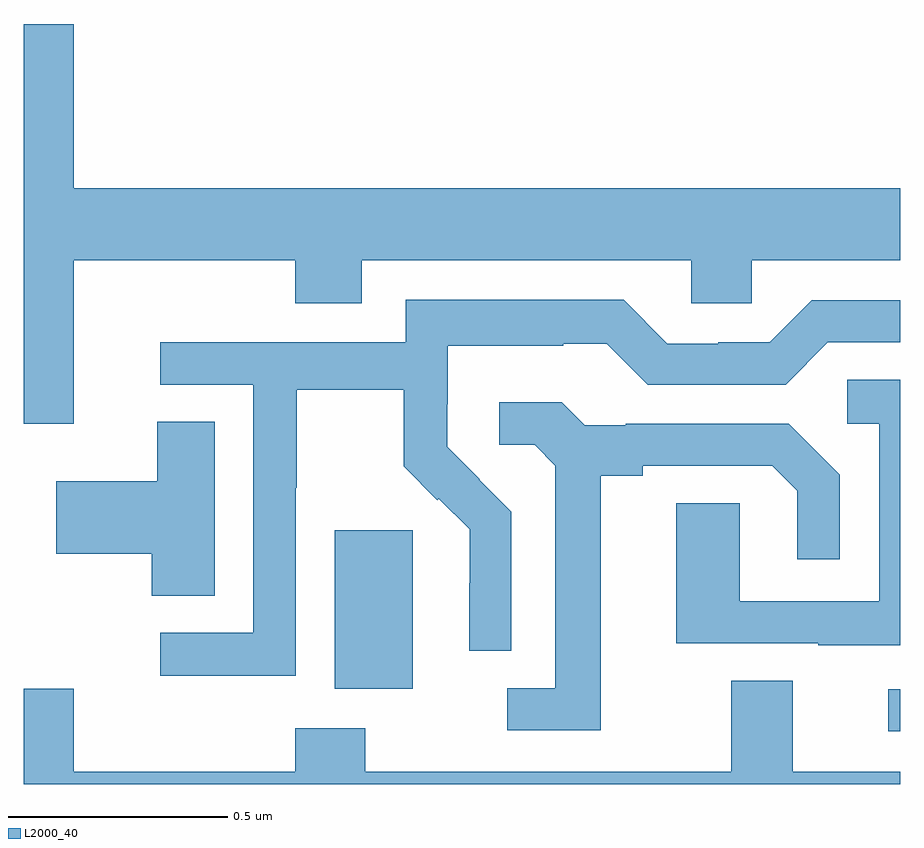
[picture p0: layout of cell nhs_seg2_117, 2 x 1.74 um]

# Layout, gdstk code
import gdstk
lib = gdstk.Library(unit=1e-6, precision=1e-09)
def R(c, l, rs):  # rectangles x0, y0, x1, y1
    for r in rs: c.add(gdstk.rectangle(r[:2], r[2:], *l))
def P(c, l, *ps):  # polygons
    for p in ps: c.add(gdstk.Polygon(p, *l))
L2000_40 = (2000, 40)

nhs_seg2_117 = lib.new_cell('nhs_seg2_117')
R(nhs_seg2_117, L2000_40, [(113.973,619.92,114,620.016), (112.709,620.018,112.888,620.379)])
P(nhs_seg2_117, L2000_40, [(112.114,620.996),(112.619,620.996),(112.619,620.897),(112.771,620.897),(112.771,620.996),(113.523,620.996),(113.523,620.898),(113.661,620.898),(113.661,620.996),(114,620.996),(114,621.16),(112.114,621.16),(112.114,621.535),(112,621.535),(112,620.622),(112.114,620.622)],
  [(112.62,620.476),(112.623,620.476),(112.623,620.7),(112.867,620.7),(112.867,620.525),(112.944,620.448),(112.947,620.451),(113.018,620.381),(113.018,620.258),(113.016,620.258),(113.016,620.104),(113.112,620.104),(113.112,620.422),(113.039,620.495),(113.04,620.496),(112.966,620.57),(112.966,620.667),(112.968,620.667),(112.968,620.801),(113.231,620.801),(113.231,620.805),(113.331,620.805),(113.424,620.712),(113.739,620.712),(113.835,620.808),(114,620.808),(114,620.904),(113.799,620.904),(113.703,620.808),(113.585,620.808),(113.585,620.805),(113.469,620.805),(113.369,620.905),(112.872,620.905),(112.872,620.808),(112.311,620.808),(112.311,620.712),(112.524,620.712),(112.524,620.145),(112.311,620.145),(112.311,620.047),(112.62,620.047)],
  [(114,620.723),(113.88,620.723),(113.88,620.622),(113.952,620.622),(113.952,620.217),(113.634,620.217),(113.634,620.441),(113.489,620.441),(113.489,620.121),(113.813,620.121),(113.813,620.117),(114,620.117)],
  [(113.317,620.504),(113.413,620.504),(113.413,620.526),(113.708,620.526),(113.765,620.469),(113.765,620.313),(113.862,620.313),(113.862,620.506),(113.746,620.622),(113.374,620.622),(113.374,620.619),(113.28,620.619),(113.228,620.671),(113.085,620.671),(113.085,620.574),(113.166,620.574),(113.213,620.527),(113.213,620.019),(113.103,620.019),(113.103,619.923),(113.317,619.923)],
  [(112.435,620.627),(112.304,620.627),(112.304,620.491),(112.074,620.491),(112.074,620.326),(112.292,620.326),(112.292,620.23),(112.435,620.23)],
  [(114,619.828),(113.755,619.828),(113.755,620.036),(113.615,620.036),(113.615,619.828),(112.779,619.828),(112.779,619.927),(112.619,619.927),(112.619,619.828),(112.114,619.828),(112.114,620.017),(112,620.017),(112,619.8),(114,619.8)])

lib.write_gds('nhs_seg2_117.gds')
